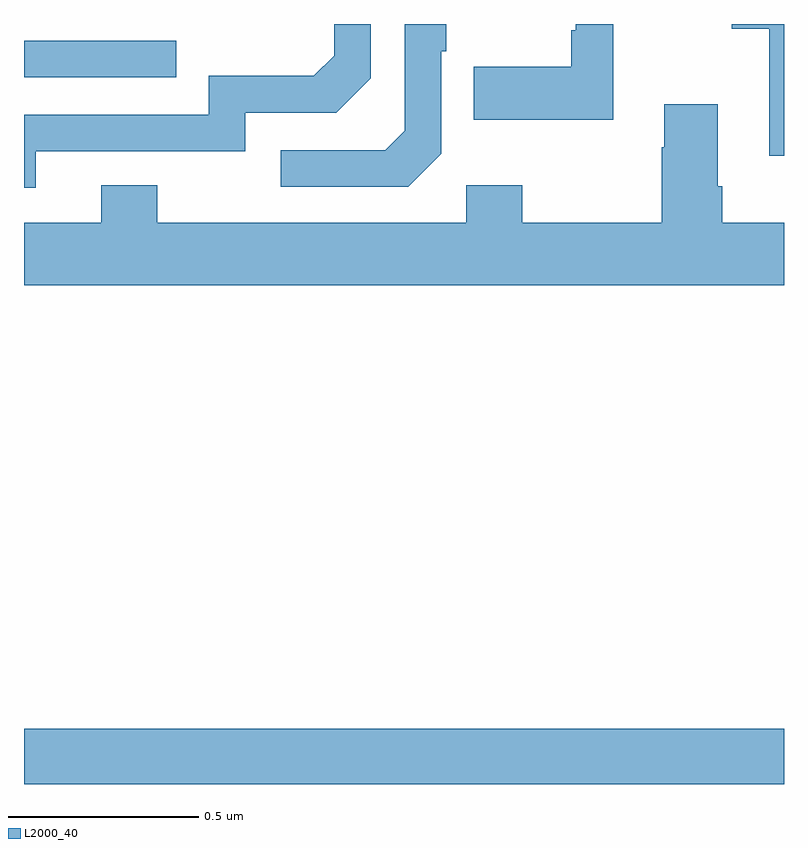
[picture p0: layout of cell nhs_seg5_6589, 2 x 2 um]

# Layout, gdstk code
import gdstk
lib = gdstk.Library(unit=1e-6, precision=1e-09)
def R(c, l, rs):  # rectangles x0, y0, x1, y1
    for r in rs: c.add(gdstk.rectangle(r[:2], r[2:], *l))
def P(c, l, *ps):  # polygons
    for p in ps: c.add(gdstk.Polygon(p, *l))
L2000_40 = (2000, 40)

nhs_seg5_6589 = lib.new_cell('nhs_seg5_6589')
R(nhs_seg5_6589, L2000_40, [(198,836.799,200,836.944), (198,838.659,198.401,838.755)])
P(nhs_seg5_6589, L2000_40, [(199.55,838.799),(199.452,838.799),(199.452,838.783),(199.44,838.783),(199.44,838.687),(199.183,838.687),(199.183,838.547),(199.55,838.547)],
  [(199.098,838.458),(199.098,838.727),(199.111,838.727),(199.111,838.799),(199.002,838.799),(199.002,838.518),(198.951,838.467),(198.675,838.467),(198.675,838.371),(199.011,838.371)],
  [(198.031,838.464),(198.582,838.464),(198.582,838.566),(198.822,838.566),(198.912,838.656),(198.912,838.799),(198.816,838.799),(198.816,838.716),(198.763,838.663),(198.486,838.663),(198.486,838.56),(198,838.56),(198,838.368),(198.031,838.368)],
  [(200,838.799),(199.862,838.799),(199.862,838.787),(199.961,838.787),(199.961,838.452),(200,838.452)],
  [(200,838.276),(199.838,838.276),(199.838,838.372),(199.825,838.372),(199.825,838.588),(199.685,838.588),(199.685,838.475),(199.678,838.475),(199.678,838.276),(199.311,838.276),(199.311,838.375),(199.164,838.375),(199.164,838.276),(198.351,838.276),(198.351,838.375),(198.203,838.375),(198.203,838.276),(198,838.276),(198,838.112),(200,838.112)])

lib.write_gds('nhs_seg5_6589.gds')
